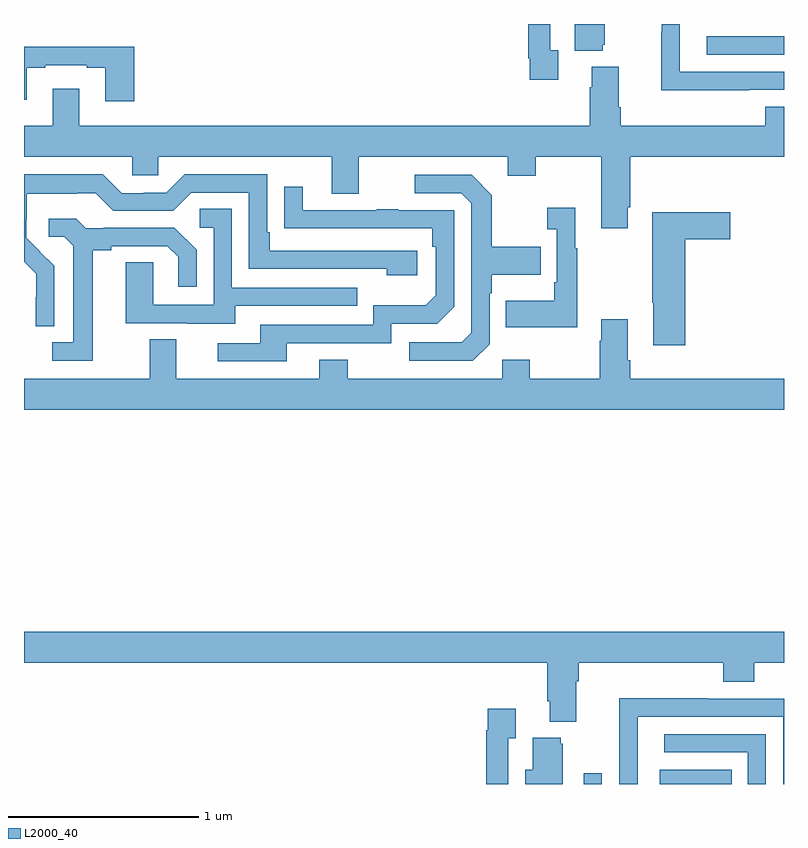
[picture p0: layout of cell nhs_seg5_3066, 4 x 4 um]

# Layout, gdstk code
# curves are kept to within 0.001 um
import gdstk
lib = gdstk.Library(unit=1e-6, precision=1e-09)
def R(c, l, rs):  # rectangles x0, y0, x1, y1
    for r in rs: c.add(gdstk.rectangle(r[:2], r[2:], *l))
def P(c, l, *ps):  # polygons
    for p in ps: c.add(gdstk.Polygon(p, *l))
L2000_40 = (2000, 40)

nhs_seg5_3066 = lib.new_cell('nhs_seg5_3066')
R(nhs_seg5_3066, L2000_40, [(291.945,846.799,292.041,846.856), (292.346,846.799,292.724,846.874), (292.593,850.638,293,850.734)])
P(nhs_seg5_3066, L2000_40, [(292.817,850.452),(293,850.452),(293,850.548),(292.452,850.548),(292.452,850.799),(292.356,850.799),(292.356,850.757),(292.354,850.757),(292.354,850.451),(292.817,850.451)],
  [(291.811,850.662),(291.771,850.662),(291.771,850.799),(291.655,850.799),(291.655,850.618),(291.663,850.618),(291.663,850.506),(291.811,850.506)],
  [(292.046,850.689),(292.057,850.689),(292.057,850.799),(291.899,850.799),(291.899,850.658),(292.046,850.658)],
  [(289.58,850.678),(289,850.678),(289,850.4),(289.015,850.4),(289.015,850.569),(289.111,850.569),(289.111,850.581),(289.331,850.581),(289.331,850.569),(289.427,850.569),(289.427,850.392),(289.58,850.392)],
  [(292.142,850.36),(292.129,850.36),(292.129,850.573),(291.989,850.573),(291.989,850.466),(291.977,850.466),(291.977,850.264),(289.291,850.264),(289.291,850.459),(289.151,850.459),(289.151,850.264),(289,850.264),(289,850.1),(289.569,850.1),(289.569,850.002),(289.707,850.002),(289.707,850.1),(290.621,850.1),(290.621,849.906),(290.761,849.906),(290.761,850.1),(291.545,850.1),(291.545,850.001),(291.693,850.001),(291.693,850.1),(292.037,850.1),(292.037,849.723),(292.177,849.723),(292.177,849.835),(292.19,849.835),(292.19,850.1),(293,850.1),(293,850.363),(292.901,850.363),(292.901,850.264),(292.142,850.264)],
  [(289.158,849.526),(289.012,849.674),(289.012,849.771),(289.014,849.771),(289.014,849.905),(289.277,849.905),(289.277,849.909),(289.377,849.909),(289.47,849.816),(289.785,849.816),(289.881,849.912),(290.184,849.912),(290.184,849.51),(290.909,849.51),(290.909,849.476),(291.07,849.476),(291.07,849.606),(290.293,849.606),(290.293,849.703),(290.28,849.703),(290.28,850.008),(289.845,850.008),(289.749,849.912),(289.631,849.912),(289.631,849.909),(289.515,849.909),(289.415,850.009),(289,850.009),(289,849.548),(289.064,849.485),(289.064,849.362),(289.062,849.362),(289.062,849.208),(289.158,849.208)],
  [(291.45,849.114),(291.45,849.383),(291.463,849.383),(291.463,849.479),(291.719,849.479),(291.719,849.627),(291.463,849.627),(291.463,849.899),(291.357,850.005),(291.057,850.005),(291.057,849.909),(291.3,849.909),(291.354,849.855),(291.354,849.174),(291.303,849.123),(291.027,849.123),(291.027,849.027),(291.363,849.027)],
  [(290.383,849.12),(290.934,849.12),(290.934,849.222),(291.174,849.222),(291.264,849.312),(291.264,849.819),(290.969,849.819),(290.969,849.824),(290.857,849.824),(290.857,849.819),(290.467,849.819),(290.467,849.943),(290.371,849.943),(290.371,849.724),(291.148,849.723),(291.148,849.626),(291.168,849.626),(291.168,849.372),(291.115,849.319),(290.838,849.319),(290.838,849.216),(290.243,849.216),(290.243,849.12),(290.019,849.12),(290.019,849.024),(290.383,849.024)],
  [(291.913,849.619),(291.901,849.619),(291.901,849.832),(291.753,849.832),(291.753,849.719),(291.804,849.719),(291.804,849.439),(291.792,849.439),(291.792,849.343),(291.535,849.343),(291.535,849.203),(291.913,849.203)],
  [(290.113,849.315),(290.753,849.315),(290.753,849.411),(290.094,849.411),(290.094,849.827),(289.926,849.827),(289.926,849.726),(289.998,849.726),(289.998,849.321),(289.68,849.321),(289.68,849.545),(289.535,849.545),(289.535,849.225),(289.859,849.225),(289.859,849.221),(290.113,849.221)],
  [(292.481,849.665),(292.717,849.665),(292.717,849.807),(292.306,849.807),(292.306,849.331),(292.313,849.331),(292.313,849.108),(292.481,849.108)],
  [(289.363,849.608),(289.459,849.608),(289.459,849.63),(289.754,849.63),(289.811,849.573),(289.811,849.417),(289.908,849.417),(289.908,849.61),(289.792,849.726),(289.42,849.726),(289.42,849.723),(289.326,849.723),(289.274,849.775),(289.131,849.775),(289.131,849.678),(289.212,849.678),(289.259,849.631),(289.259,849.123),(289.149,849.123),(289.149,849.027),(289.363,849.027)],
  [(293,848.932),(292.19,848.932),(292.19,849.028),(292.177,849.028),(292.177,849.244),(292.037,849.244),(292.037,849.131),(292.03,849.131),(292.03,848.932),(291.663,848.932),(291.663,849.031),(291.516,849.031),(291.516,848.932),(290.703,848.932),(290.703,849.031),(290.555,849.031),(290.555,848.932),(289.801,848.932),(289.801,849.14),(289.661,849.14),(289.661,848.932),(289,848.932),(289,848.768),(293,848.768)],
  [(291.907,847.34),(291.92,847.34),(291.92,847.436),(292.679,847.436),(292.679,847.337),(292.844,847.337),(292.844,847.436),(293,847.436),(293,847.6),(289,847.6),(289,847.436),(291.755,847.436),(291.755,847.234),(291.767,847.234),(291.767,847.127),(291.907,847.127)],
  [(292.23,847.152),(292.995,847.152),(292.995,846.799),(293,846.799),(293,847.248),(292.595,847.248),(292.595,847.25),(292.132,847.25),(292.132,846.943),(292.134,846.943),(292.134,846.799),(292.23,846.799)],
  [(291.549,847.039),(291.589,847.039),(291.589,847.195),(291.441,847.195),(291.441,847.082),(291.433,847.082),(291.433,846.799),(291.549,846.799)],
  [(292.905,847.062),(292.371,847.062),(292.371,846.966),(292.809,846.966),(292.809,846.799),(292.905,846.799)],
  [(291.835,847.011),(291.824,847.011),(291.824,847.042),(291.677,847.042),(291.677,846.874),(291.638,846.874),(291.638,846.799),(291.835,846.799)])

lib.write_gds('nhs_seg5_3066.gds')
